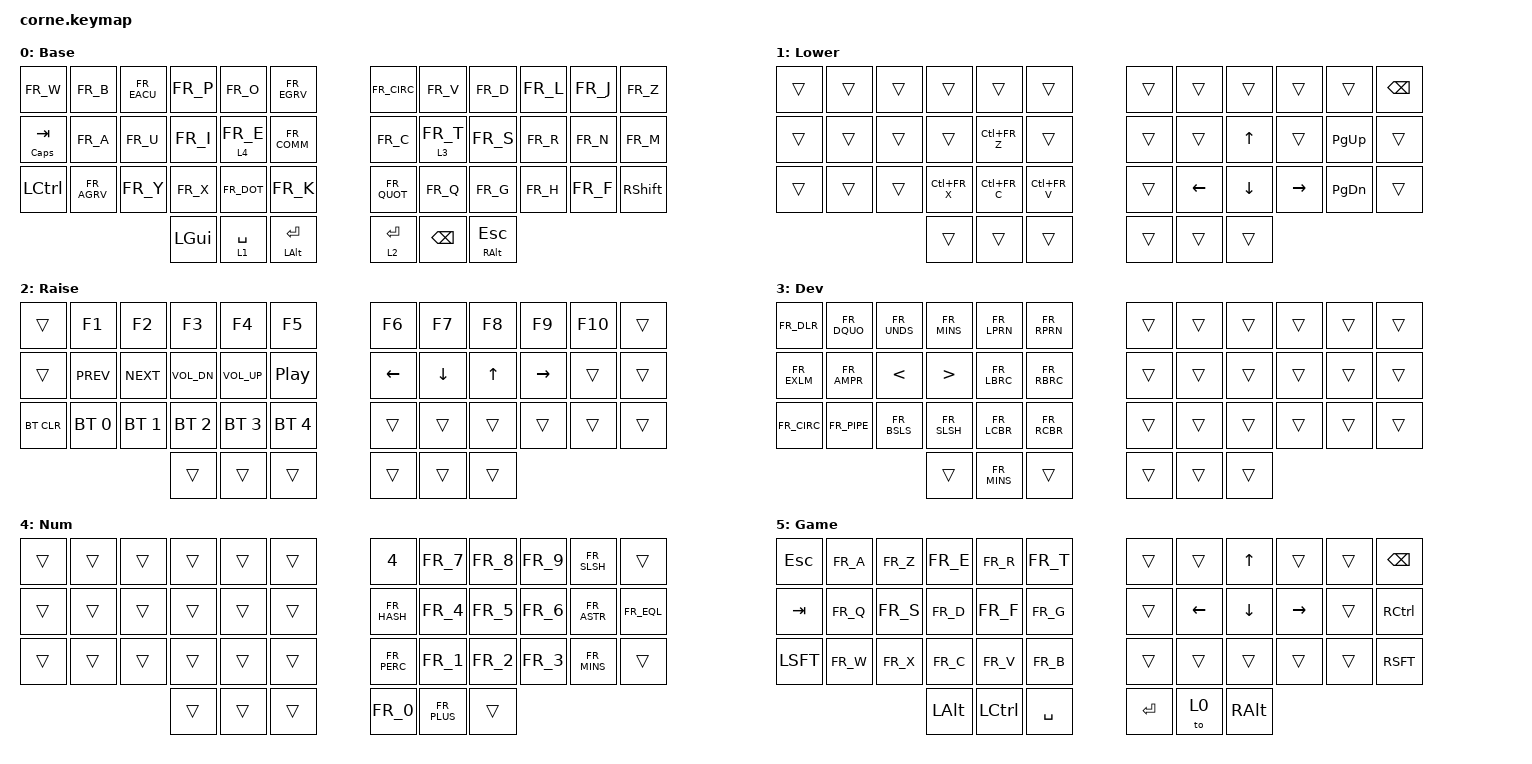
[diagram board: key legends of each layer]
/*
 * Copyright (c) 2020 The ZMK Contributors
 *
 * SPDX-License-Identifier: MIT
 */

#include <behaviors.dtsi>
#include <dt-bindings/zmk/keys.h>
#include <dt-bindings/zmk/bt.h>
#include <dt-bindings/zmk/outputs.h>
#include <dt-bindings/zmk/ext_power.h>
#include "keymap_french.h"

/ {
        combos {
                compatible = "zmk,combos";
                combo_activate_layer_5 {
                        bindings = <&tog 5>;
                        key-positions = <0 1>;
                };
        };
        behaviors {
                hm: homerow_mods {
                compatible = "zmk,behavior-hold-tap";
                label = "HOMEROW_MODS";
                #binding-cells = <2>;
                tapping-term-ms = <200>;
                quick_tap_ms = <0>;
                flavor = "tap-preferred";
                bindings = <&kp>, <&kp>;
                };
                td: tapdance {
                        compatible = "zmk,behavior-hold-tap";
                        label = "TAPDANCE";
                        #binding-cells = <2>;
                        tapping-term-ms = <150>;
                        quick_tap_ms = <0>;
                        flavor = "tap-preferred";
                        bindings = <&kp>, <&kp>;
                };
        };      
        keymap {
                compatible = "zmk,keymap";

                Base {
                // -----------------------------------------------------------------------------------------
                // | W    |  B  |  é  |  P  |  O  |  è  |   |  ^  |  V   |  D  |  L  |  J  | Z |
                // | TAB  |  A  |  U  |  I  |  E  |  ,  |   |  C  |  T   |  S  |  R  |  N  | M |
                // | LCTRL|  à  |  Y  |  X  |  .  |  K  |   |  '  |  Q   |  G  |  H  |  F  | C |
                //                    | GUI | SPC | LWR |   | ENT | BKSP | ESC |

                label = "Base";
                bindings = <
        &kp FR_W         &kp FR_B     &kp FR_EACU &kp FR_P &kp FR_O    &kp FR_EGRV        &kp FR_CIRC &kp FR_V    &kp FR_D  &kp FR_L  &kp FR_J  &kp FR_Z
        &hm CAPSLOCK TAB &kp FR_A     &kp FR_U  &kp FR_I   &lt 4 FR_E &kp FR_COMM        &kp FR_C    &lt 3 FR_T &kp FR_S  &kp FR_R  &kp FR_N  &kp FR_M
        &kp LCTRL        &kp FR_AGRV  &kp FR_Y  &kp FR_X   &kp FR_DOT  &kp FR_K           &kp FR_QUOT &kp FR_Q    &kp FR_G  &kp FR_H  &kp FR_F  &kp RSHIFT
                                                &kp LGUI  &lt 1 SPACE &hm LEFT_ALT RET     &lt 2 RET &kp BSPC   &hm RIGHT_ALT ESC
                >;
                };

                Lower {
                // -----------------------------------------------------------------------------------------
                // |      |  !  |  @  |  #  |  $  |    %     |   |  ^  |  &  |  *  |  (  |  )  |   \   |
                // |      |  1  |  2  |  3  |  4  |    5     |   |  -  |  =  |  `  |  [  |  ]  |  "|"  |
                // |      |  6  |  7  |  8  |  9  |    0     |   |  _  |  +  |  ~  |  {  |  }  | RSHFT |
                //                     | GUI |     | ALT/ENT |   | HYPER/SPACE | BKSP |    |
                label = "Lower";
                bindings = <
        &trans  &trans  &trans   &trans       &trans       &trans         &trans  &trans   &trans   &trans    &trans        &kp BSPC
        &trans  &trans  &trans   &trans       &kp LC(FR_Z) &trans         &trans  &trans   &kp UP   &trans    &kp PAGE_UP   &trans
        &trans  &trans  &trans   &kp LC(FR_X) &kp LC(FR_C) &kp LC(FR_V)   &trans  &kp LEFT &kp DOWN &kp RIGHT &kp PAGE_DOWN &trans
                                &trans       &trans       &trans         &trans  &trans   &trans
                >;
                };

                Raise {
                // -----------------------------------------------------------------------------------------
                // |       |  F1  |  F2  |  F3  |  F4  |  F5 |         |  F6  |  F7  |  F8  |  F9  | F10 |     |
                // |       |      |      | Vol -| Vol +| Play/Pause |  |      | Prev |      | Next |     |     |
                // | BTCLR | BT1  | BT2  | BT3  | BT4  | BT5 |         |      |      |      |      |     |     |
                //                          |     |     |    |         |      |      |      |
                label = "Raise";
                bindings = <
        &trans     &kp F1        &kp F2       &kp F3       &kp F4       &kp F5          &kp F6   &kp F7   &kp F8 &kp F9    &kp F10 &trans
        &trans     &kp C_PREV    &kp C_NEXT   &kp C_VOL_DN &kp C_VOL_UP &kp C_PP        &kp LEFT &kp DOWN &kp UP &kp RIGHT &trans &trans
        &bt BT_CLR &bt BT_SEL 0  &bt BT_SEL 1 &bt BT_SEL 2 &bt BT_SEL 3 &bt BT_SEL 4    &trans   &trans   &trans &trans    &trans &trans
                                                                &trans   &trans   &trans       &trans   &trans   &trans
                >;
                };

                Dev {
                // -----------------------------------------------------------------------------------------
                // |      |  !  |  @  |  #  |  $  |    %     |   |  ^  |  &  |  *  |  (  |  )  |   \   |
                // |      |  1  |  2  |  3  |  4  |    5     |   |  -  |  =  |  `  |  [  |  ]  |  "|"  |
                // |      |  6  |  7  |  8  |  9  |    0     |   |  _  |  +  |  ~  |  {  |  }  | RSHFT |
                //                     | GUI |     | ALT/ENT |   | HYPER/SPACE | BKSP |    |
                label = "Dev";
                bindings = <
        &kp FR_DLR   &kp FR_DQUO  &kp FR_UNDS   &kp FR_MINS       &kp FR_LPRN  &kp FR_RPRN     &trans  &trans   &trans   &trans   &trans   &trans
        &kp FR_EXLM  &kp FR_AMPR  &kp LESS_THAN &kp GREATER_THAN  &kp FR_LBRC  &kp FR_RBRC     &trans  &trans   &trans   &trans   &trans   &trans
        &kp FR_CIRC  &kp FR_PIPE  &kp FR_BSLS &kp FR_SLSH  &kp FR_LCBR  &kp FR_RCBR     &trans  &trans   &trans   &trans   &trans   &trans
                                                &trans       &kp FR_MINS  &trans          &trans  &trans   &trans
                >;
                };

                Num {
                // -----------------------------------------------------------------------------------------
                // |      |  !  |  @  |  #  |  $  |    %     |   |  ^  |  &  |  *  |  (  |  )  |   \   |
                // |      |  1  |  2  |  3  |  4  |    5     |   |  -  |  =  |  `  |  [  |  ]  |  "|"  |
                // |      |  6  |  7  |  8  |  9  |    0     |   |  _  |  +  |  ~  |  {  |  }  | RSHFT |
                //                     | GUI |     | ALT/ENT |   | HYPER/SPACE | BKSP |    |
                label = "Num";
                bindings = <
        &trans  &trans   &trans   &trans   &trans   &trans         &kp NUMBER_4 &kp FR_7 &kp FR_8 &kp FR_9 &kp FR_SLSH &trans
        &trans  &trans   &trans   &trans   &trans   &trans         &kp FR_HASH &kp FR_4 &kp FR_5 &kp FR_6 &kp FR_ASTR &kp FR_EQL
        &trans  &trans   &trans   &trans   &trans   &trans         &kp FR_PERC &kp FR_1 &kp FR_2 &kp FR_3 &kp FR_MINS &trans
                                  &trans   &trans   &trans         &kp FR_0   &kp FR_PLUS  &trans
                >;
                };

                Game {
                label = "Game";
                bindings = <
        &kp ESC  &kp FR_A &kp FR_Z  &kp FR_E     &kp FR_R  &kp FR_T    &trans  &trans   &kp UP    &trans    &trans   &kp BSPC
        &kp TAB  &kp FR_Q &kp FR_S  &kp FR_D     &kp FR_F  &kp FR_G    &trans  &kp LEFT &kp DOWN  &kp RIGHT &trans   &kp RCTL
        &kp LSFT &kp FR_W &kp FR_X  &kp FR_C     &kp FR_V  &kp FR_B    &trans  &trans   &trans    &trans    &trans   &kp RSFT
                                    &kp LEFT_ALT &kp LCTRL &kp SPACE   &kp RET &to 0    &kp RIGHT_ALT
                >;
                };
        };
};

&nice_view_spi {
    cs-gpios = <&pro_micro 0 GPIO_ACTIVE_HIGH>;
};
